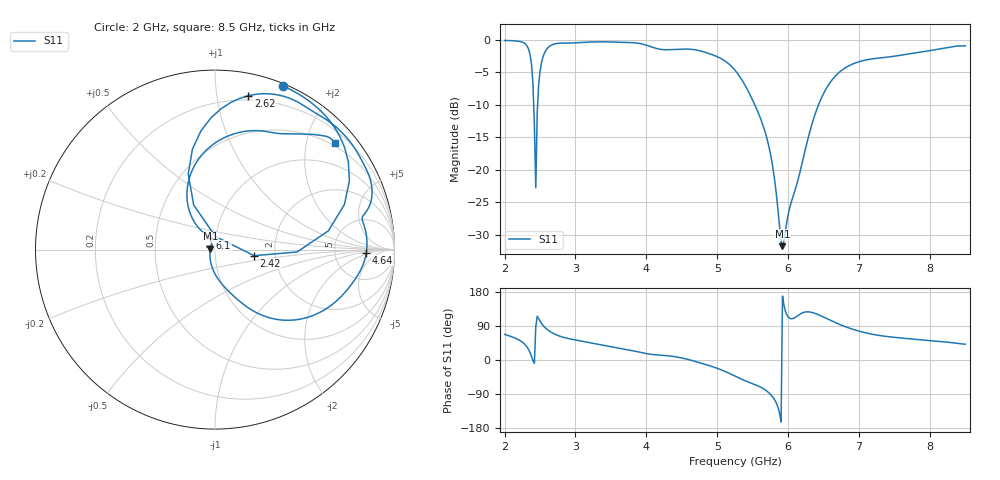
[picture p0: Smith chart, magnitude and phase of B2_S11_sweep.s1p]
! Generated by Hertzon (EMerge FEM)
# HZ S RI R 50
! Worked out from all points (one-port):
!   326 points, 2 GHz to 8.5 GHz, reference 50 ohm
!   lowest |S11| = -31.8 dB at 5.92 GHz (marker M1), VSWR 1.05, Z = 47.5 + j0.475 ohm
!   |S11| at or under -10 dB: 2.41 GHz to 2.466 GHz (55.57 MHz wide, 2.28 % of centre); 5.529 GHz to 6.429 GHz (899.9 MHz wide, 15.1 % of centre)
!   S11 on the Smith chart (normalised r, x): 2 GHz: 0.02, +1.49; 2.42 GHz: 1.55, -0.11; 2.62 GHz: 0.16, +1.23; 4.64 GHz: 12, -1; 6.1 GHz: 0.94, +0.12; 8.5 GHz: 0.42, +2.57
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2e9  0.3765 0.9125
2.22e9  0.6103 0.7511
2.28e9  0.695 0.6317
2.34e9  0.7488 0.3833
2.38e9  0.6322 0.105
2.4e9  0.457 -0.0135
2.42e9  0.2182 -0.0337
2.44e9  0.00257 0.0726
2.46e9  -0.1187 0.2486
2.48e9  -0.1492 0.4215
2.54e9  -0.0228 0.7336
2.62e9  0.1864 0.8577
2.82e9  0.4656 0.8194
3.64e9  0.8235 0.4861
4.44e9  0.8377 0.1098
4.64e9  0.843 -0.017
4.98e9  0.7006 -0.2635
5.26e9  0.4181 -0.3936
5.7e9  0.0237 -0.1728
5.8e9  -0.0193 -0.0886
5.92e9  -0.0253 0.00499
6.08e9  -0.0226 0.0611
6.1e9  -0.0268 0.0653
6.46e9  -0.1565 0.3105
6.88e9  0.0774 0.6348
7.22e9  0.283 0.6582
7.7e9  0.4332 0.6451
8.5e9  0.6706 0.5962
